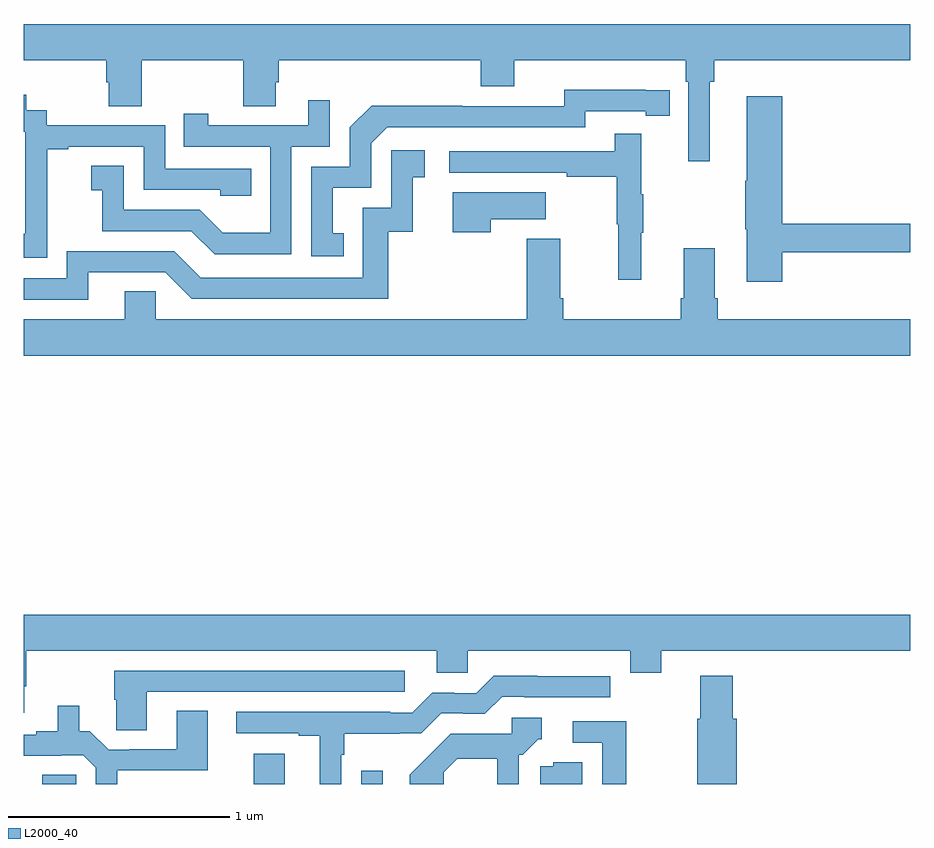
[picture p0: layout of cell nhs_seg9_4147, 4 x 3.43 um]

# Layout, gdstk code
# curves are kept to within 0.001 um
import gdstk
lib = gdstk.Library(unit=1e-6, precision=1e-09)
def R(c, l, rs):  # rectangles x0, y0, x1, y1
    for r in rs: c.add(gdstk.rectangle(r[:2], r[2:], *l))
def P(c, l, *ps):  # polygons
    for p in ps: c.add(gdstk.Polygon(p, *l))
L2000_40 = (2000, 40)

nhs_seg9_4147 = lib.new_cell('nhs_seg9_4147')
R(nhs_seg9_4147, L2000_40, [(349.084,1182.5,349.237,1182.542), (350.039,1182.5,350.179,1182.637), (350.523,1182.5,350.619,1182.559)])
P(nhs_seg9_4147, L2000_40, [(352.096,1185.668),(352.115,1185.668),(352.115,1185.764),(353,1185.764),(353,1185.928),(349,1185.928),(349,1185.764),(349.373,1185.764),(349.373,1185.666),(349.385,1185.666),(349.385,1185.556),(349.533,1185.556),(349.533,1185.764),(349.99,1185.764),(349.99,1185.556),(350.137,1185.556),(350.137,1185.666),(350.15,1185.666),(350.15,1185.764),(351.062,1185.764),(351.062,1185.647),(351.214,1185.647),(351.214,1185.764),(351.986,1185.764),(351.986,1185.668),(351.999,1185.668),(351.999,1185.309),(352.096,1185.309)],
  [(350.444,1184.985),(350.395,1184.985),(350.395,1185.189),(350.568,1185.189),(350.568,1185.39),(350.64,1185.462),(351.534,1185.462),(351.534,1185.534),(351.806,1185.534),(351.806,1185.514),(351.914,1185.514),(351.914,1185.63),(351.438,1185.631),(351.438,1185.558),(350.978,1185.558),(350.978,1185.56),(350.57,1185.56),(350.472,1185.462),(350.472,1185.285),(350.298,1185.285),(350.298,1184.88),(350.444,1184.88)],
  [(349.107,1185.079),(349.106,1185.079),(349.106,1185.363),(349.201,1185.363),(349.201,1185.375),(349.542,1185.375),(349.542,1185.18),(349.887,1185.18),(349.887,1185.153),(350.027,1185.153),(350.027,1185.276),(349.638,1185.276),(349.638,1185.471),(349.104,1185.471),(349.104,1185.54),(349.012,1185.54),(349.012,1185.61),(349,1185.61),(349,1185.441),(349.008,1185.441),(349.008,1185.212),(349.007,1185.212),(349.007,1184.983),(349,1184.983),(349,1184.873),(349.107,1184.873)],
  [(352.421,1184.898),(353,1184.898),(353,1185.026),(352.421,1185.026),(352.421,1185.601),(352.262,1185.601),(352.262,1185.221),(352.255,1185.221),(352.255,1185.003),(352.262,1185.003),(352.262,1184.766),(352.421,1184.766)],
  [(350.208,1185.375),(350.382,1185.375),(350.382,1185.583),(350.285,1185.583),(350.285,1185.471),(349.834,1185.471),(349.834,1185.523),(349.723,1185.523),(349.723,1185.375),(350.112,1185.375),(350.112,1184.986),(349.898,1184.986),(349.794,1185.09),(349.452,1185.09),(349.452,1185.289),(349.305,1185.289),(349.305,1185.179),(349.354,1185.179),(349.354,1184.994),(349.757,1184.994),(349.862,1184.889),(350.208,1184.889)],
  [(351.785,1184.987),(351.796,1184.987),(351.796,1185.161),(351.785,1185.161),(351.785,1185.433),(351.667,1185.433),(351.667,1185.354),(350.919,1185.354),(350.919,1185.258),(351.451,1185.258),(351.451,1185.238),(351.675,1185.238),(351.675,1185.024),(351.682,1185.024),(351.682,1184.775),(351.785,1184.775)],
  [(349.291,1184.808),(349.638,1184.808),(349.758,1184.688),(350.645,1184.688),(350.645,1184.991),(350.756,1184.991),(350.756,1185.237),(350.809,1185.237),(350.809,1185.358),(350.658,1185.358),(350.658,1185.099),(350.529,1185.099),(350.529,1184.784),(349.8,1184.784),(349.68,1184.904),(349.194,1184.904),(349.194,1184.781),(349,1184.781),(349,1184.685),(349.291,1184.685)],
  [(351.107,1185.047),(351.355,1185.047),(351.355,1185.169),(350.936,1185.169),(350.936,1184.988),(351.107,1184.988)],
  [(353,1184.596),(352.13,1184.596),(352.13,1184.692),(352.117,1184.692),(352.117,1184.917),(351.977,1184.917),(351.977,1184.692),(351.965,1184.692),(351.965,1184.596),(351.434,1184.596),(351.434,1184.692),(351.421,1184.692),(351.421,1184.959),(351.269,1184.959),(351.269,1184.596),(349.596,1184.596),(349.596,1184.723),(349.457,1184.723),(349.457,1184.596),(349,1184.596),(349,1184.432),(353,1184.432)],
  [(349.003,1182.94),(349.011,1182.94),(349.011,1183.1),(350.864,1183.1),(350.864,1183.002),(351.003,1183.002),(351.003,1183.1),(351.737,1183.1),(351.737,1183.001),(351.877,1183.001),(351.877,1183.1),(353,1183.1),(353,1183.264),(349,1183.264),(349,1182.822),(349.003,1182.822)],
  [(349.555,1182.915),(350.719,1182.915),(350.719,1183.011),(349.408,1183.011),(349.408,1182.879),(349.417,1182.879),(349.417,1182.742),(349.555,1182.742)],
  [(352.217,1182.795),(352.199,1182.795),(352.199,1182.988),(352.052,1182.988),(352.052,1182.795),(352.039,1182.795),(352.039,1182.5),(352.217,1182.5)],
  [(350.433,1182.632),(350.446,1182.632),(350.446,1182.726),(350.696,1182.726),(350.696,1182.729),(350.793,1182.729),(350.883,1182.819),(350.984,1182.819),(350.984,1182.816),(351.081,1182.816),(351.159,1182.894),(351.259,1182.894),(351.259,1182.891),(351.646,1182.891),(351.646,1182.987),(351.121,1182.988),(351.042,1182.909),(350.942,1182.909),(350.942,1182.912),(350.844,1182.912),(350.754,1182.822),(350.654,1182.822),(350.654,1182.825),(349.959,1182.825),(349.959,1182.729),(350.24,1182.729),(350.24,1182.717),(350.336,1182.717),(350.336,1182.5),(350.433,1182.5)],
  [(349.422,1182.561),(349.831,1182.561),(349.831,1182.83),(349.691,1182.83),(349.691,1182.657),(349.477,1182.657),(349.477,1182.654),(349.383,1182.654),(349.299,1182.738),(349.252,1182.738),(349.252,1182.853),(349.154,1182.853),(349.154,1182.738),(349.058,1182.738),(349.058,1182.723),(349,1182.723),(349,1182.627),(349.169,1182.627),(349.169,1182.63),(349.269,1182.63),(349.326,1182.573),(349.326,1182.5),(349.422,1182.5)],
  [(350.896,1182.554),(350.957,1182.615),(351.136,1182.615),(351.136,1182.5),(351.234,1182.5),(351.234,1182.633),(351.252,1182.633),(351.321,1182.702),(351.337,1182.702),(351.337,1182.798),(351.201,1182.798),(351.201,1182.726),(350.927,1182.726),(350.83,1182.629),(350.829,1182.63),(350.742,1182.542),(350.742,1182.5),(350.896,1182.5)],
  [(351.718,1182.783),(351.477,1182.783),(351.477,1182.687),(351.609,1182.687),(351.609,1182.5),(351.718,1182.5)],
  [(351.519,1182.598),(351.39,1182.598),(351.39,1182.579),(351.33,1182.579),(351.33,1182.5),(351.519,1182.5)])

lib.write_gds('nhs_seg9_4147.gds')
